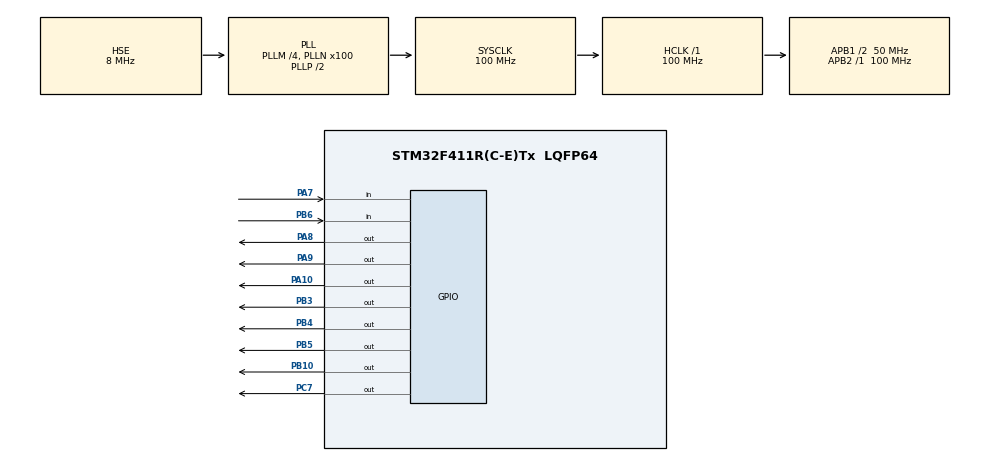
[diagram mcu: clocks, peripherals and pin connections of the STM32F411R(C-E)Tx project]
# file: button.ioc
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Mcu.Family=STM32F4
Mcu.Name=STM32F411R(C-E)Tx
Mcu.Package=LQFP64
NVIC.PriorityGroup=NVIC_PRIORITYGROUP_4
PA10.Signal=GPIO_Output
PA13.Mode=Serial_Wire
PA13.Signal=SYS_JTMS-SWDIO
PA14.Mode=Serial_Wire
PA14.Signal=SYS_JTCK-SWCLK
PA7.Signal=GPIO_Input
PA8.Signal=GPIO_Output
PA9.Signal=GPIO_Output
PB10.Signal=GPIO_Output
PB3.Signal=GPIO_Output
PB4.Signal=GPIO_Output
PB5.Signal=GPIO_Output
PB6.Signal=GPIO_Input
PC7.Signal=GPIO_Output
PH0\ -\ OSC_IN.Mode=HSE-External-Oscillator
PH0\ -\ OSC_IN.Signal=RCC_OSC_IN
PH1\ -\ OSC_OUT.Mode=HSE-External-Oscillator
PH1\ -\ OSC_OUT.Signal=RCC_OSC_OUT
ProjectManager.HeapSize=0x200
ProjectManager.StackSize=0x400
ProjectManager.TargetToolchain=STM32CubeIDE
RCC.48MHZClocksFreq_Value=50000000
RCC.AHBFreq_Value=100000000
RCC.APB1CLKDivider=RCC_HCLK_DIV2
RCC.APB1Freq_Value=50000000
RCC.APB1TimFreq_Value=100000000
RCC.APB2Freq_Value=100000000
RCC.APB2TimFreq_Value=100000000
RCC.CortexFreq_Value=100000000
RCC.HCLKFreq_Value=100000000
RCC.HSE_VALUE=8000000
RCC.HSI_VALUE=16000000
RCC.LSE_VALUE=32768
RCC.PLLM=4
RCC.PLLN=100
RCC.PLLSourceVirtual=RCC_PLLSOURCE_HSE
RCC.SYSCLKFreq_VALUE=100000000
RCC.SYSCLKSource=RCC_SYSCLKSOURCE_PLLCLK
RCC.VCOOutputFreq_Value=200000000
board=custom

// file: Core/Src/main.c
/* USER CODE BEGIN Header */
/**
  ******************************************************************************
  * @file           : main.c
  * @brief          : Main program body
  ******************************************************************************
  * @attention
  *
  * Copyright (c) 2023 STMicroelectronics.
  * All rights reserved.
  *
  * This software is licensed under terms that can be found in the LICENSE file
  * in the root directory of this software component.
  * If no LICENSE file comes with this software, it is provided AS-IS.
  *
  ******************************************************************************
  */
/* USER CODE END Header */
#include "main.h"
#include "gpio.h"

/* USER CODE BEGIN Includes */
#include "button.h"
/* USER CODE END Includes */

/* USER CODE BEGIN PV */
  uint8_t flag = 0;
  GPIO_TypeDef *led_tbl[8] =
      {
          GPIOA,GPIOB,GPIOB,GPIOB,GPIOB,GPIOA,GPIOA,GPIOC
      };
  uint16_t led_tbl_pin[8] =
      {
          GPIO_PIN_10,GPIO_PIN_3,GPIO_PIN_5,GPIO_PIN_4,
          GPIO_PIN_10,GPIO_PIN_8,GPIO_PIN_9,GPIO_PIN_7
      };
/* USER CODE END PV */

void SystemClock_Config(void);

int main(void)
{
  /* USER CODE BEGIN 1 */
  Button shift; //define static variable

  /* USER CODE END 1 */

  /* MCU Configuration--------------------------------------------------------*/

  /* Reset of all peripherals, Initializes the Flash interface and the Systick. */
  HAL_Init();

  /* USER CODE BEGIN Init */
  Button_Init(&shift, GPIOB, GPIO_PIN_6);
  /* USER CODE END Init */

  /* Configure the system clock */
  SystemClock_Config();

  /* Initialize all configured peripherals */
  MX_GPIO_Init();

  /* Infinite loop */
  while (1)
  {
    if(Button_getState(&shift) == ACT_PUSHED)
    {
      flag =(flag + 1)%2;
      HAL_Delay(100);

    }
    /* USER CODE BEGIN 3 */
    switch(flag)
    {
      case 0 :
        for(int i=0;i<8;i++)
            {
              HAL_GPIO_WritePin(led_tbl[i],led_tbl_pin[i],SET);
              HAL_Delay(200);
              HAL_GPIO_WritePin(led_tbl[i],led_tbl_pin[i],RESET);

              if(Button_getState(&shift) == ACT_PUSHED)
                            {
                              flag =(flag+1)%2;
                              HAL_Delay(100);
                              break;
                            }
            }
      case 1:
        for(int i =7; i>=0; i--)
            {
                      HAL_GPIO_WritePin(led_tbl[i],led_tbl_pin[i],SET);
                      HAL_Delay(200);
                      HAL_GPIO_WritePin(led_tbl[i],led_tbl_pin[i],RESET);

                      if(Button_getState(&shift) == ACT_PUSHED)
                                    {
                                      flag =(flag+1)%2;
                                      HAL_Delay(100);
                                      break;
                                    }
                    }
      default:
        break;
    }

  }
  /* USER CODE END 3 */
}

void SystemClock_Config(void)
{
  RCC_OscInitTypeDef RCC_OscInitStruct = {0};
  RCC_ClkInitTypeDef RCC_ClkInitStruct = {0};

  /** Configure the main internal regulator output voltage
  */
  __HAL_RCC_PWR_CLK_ENABLE();
  __HAL_PWR_VOLTAGESCALING_CONFIG(PWR_REGULATOR_VOLTAGE_SCALE1);

  /** Initializes the RCC Oscillators according to the specified parameters
  * in the RCC_OscInitTypeDef structure.
  */
  RCC_OscInitStruct.OscillatorType = RCC_OSCILLATORTYPE_HSE;
  RCC_OscInitStruct.HSEState = RCC_HSE_ON;
  RCC_OscInitStruct.PLL.PLLState = RCC_PLL_ON;
  RCC_OscInitStruct.PLL.PLLSource = RCC_PLLSOURCE_HSE;
  RCC_OscInitStruct.PLL.PLLM = 4;
  RCC_OscInitStruct.PLL.PLLN = 100;
  RCC_OscInitStruct.PLL.PLLP = RCC_PLLP_DIV2;
  RCC_OscInitStruct.PLL.PLLQ = 4;
  if (HAL_RCC_OscConfig(&RCC_OscInitStruct) != HAL_OK)
  {
    Error_Handler();
  }

  /** Initializes the CPU, AHB and APB buses clocks
  */
  RCC_ClkInitStruct.ClockType = RCC_CLOCKTYPE_HCLK|RCC_CLOCKTYPE_SYSCLK
                              |RCC_CLOCKTYPE_PCLK1|RCC_CLOCKTYPE_PCLK2;
  RCC_ClkInitStruct.SYSCLKSource = RCC_SYSCLKSOURCE_PLLCLK;
  RCC_ClkInitStruct.AHBCLKDivider = RCC_SYSCLK_DIV1;
  RCC_ClkInitStruct.APB1CLKDivider = RCC_HCLK_DIV2;
  RCC_ClkInitStruct.APB2CLKDivider = RCC_HCLK_DIV1;

  if (HAL_RCC_ClockConfig(&RCC_ClkInitStruct, FLASH_LATENCY_3) != HAL_OK)
  {
    Error_Handler();
  }
}

void Error_Handler(void)
{
  __disable_irq();
  while (1)
  {
  }
}
